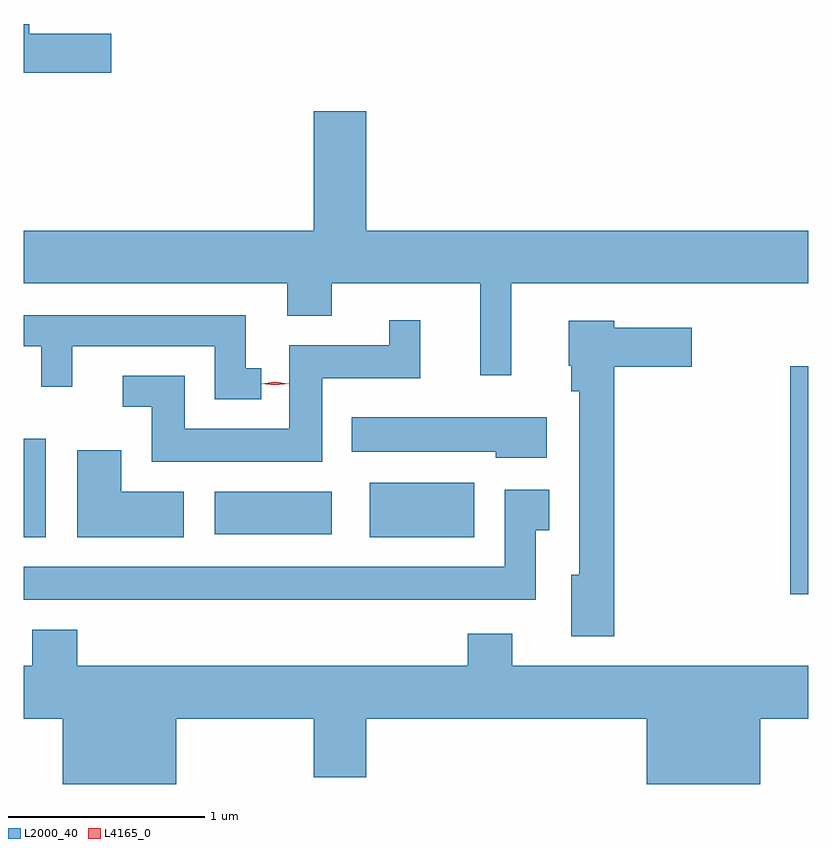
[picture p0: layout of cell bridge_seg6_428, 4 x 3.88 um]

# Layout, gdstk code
import gdstk
lib = gdstk.Library(unit=1e-6, precision=1e-09)
def R(c, l, rs):  # rectangles x0, y0, x1, y1
    for r in rs: c.add(gdstk.rectangle(r[:2], r[2:], *l))
def P(c, l, *ps):  # polygons
    for p in ps: c.add(gdstk.Polygon(p, *l))
L2000_40 = (2000, 40)
L4165_0 = (4165, 0)

bridge_seg6_428 = lib.new_cell('bridge_seg6_428')
R(bridge_seg6_428, L2000_40, [(836.886,1610.611,836.978,1611.774), (832.978,1610.901,833.089,1611.404), (834.741,1610.901,835.274,1611.179), (833.951,1610.916,834.549,1611.134)])
P(bridge_seg6_428, L2000_40, [(833.424,1613.469),(833.004,1613.469),(833.004,1613.519),(832.978,1613.519),(832.978,1613.271),(833.424,1613.271)],
  [(835.464,1612.196),(836.978,1612.196),(836.978,1612.464),(834.724,1612.464),(834.724,1613.074),(834.456,1613.074),(834.456,1612.464),(832.978,1612.464),(832.978,1612.196),(834.321,1612.196),(834.321,1612.031),(834.549,1612.031),(834.549,1612.196),(835.306,1612.196),(835.306,1611.728),(835.464,1611.728)],
  [(834.188,1611.764),(834.109,1611.764),(834.109,1612.034),(832.978,1612.034),(832.978,1611.876),(833.066,1611.876),(833.066,1611.668),(833.224,1611.668),(833.224,1611.876),(833.951,1611.876),(833.951,1611.606),(834.188,1611.606)],
  [(834.499,1611.711),(834.999,1611.711),(834.999,1612.008),(834.841,1612.008),(834.841,1611.879),(834.331,1611.879),(834.331,1611.454),(833.799,1611.454),(833.799,1611.724),(833.483,1611.724),(833.483,1611.566),(833.631,1611.566),(833.631,1611.286),(834.499,1611.286)],
  [(835.989,1611.771),(836.384,1611.771),(836.384,1611.969),(835.989,1611.969),(835.989,1612.004),(835.756,1612.004),(835.756,1611.775),(835.771,1611.775),(835.771,1611.646),(835.811,1611.646),(835.811,1610.709),(835.771,1610.709),(835.771,1610.396),(835.989,1610.396)],
  [(835.644,1611.514),(834.651,1611.514),(834.651,1611.336),(835.386,1611.336),(835.386,1611.306),(835.644,1611.306)],
  [(833.794,1611.134),(833.474,1611.134),(833.474,1611.344),(833.251,1611.344),(833.251,1610.901),(833.794,1610.901)],
  [(835.589,1610.936),(835.659,1610.936),(835.659,1611.144),(835.431,1611.144),(835.431,1610.749),(832.978,1610.749),(832.978,1610.581),(835.589,1610.581)],
  [(833.754,1609.976),(834.456,1609.976),(834.456,1609.676),(834.724,1609.676),(834.724,1609.976),(836.156,1609.976),(836.156,1609.642),(836.734,1609.642),(836.734,1609.976),(836.978,1609.976),(836.978,1610.244),(835.469,1610.244),(835.469,1610.409),(835.241,1610.409),(835.241,1610.244),(833.249,1610.244),(833.249,1610.429),(833.021,1610.429),(833.021,1610.244),(832.978,1610.244),(832.978,1609.976),(833.176,1609.976),(833.176,1609.642),(833.754,1609.642)])
P(bridge_seg6_428, L4165_0, [(834.258,1611.675),(834.189,1611.684),(834.189,1611.685),(834.189,1611.685),(834.258,1611.695),(834.328,1611.685),(834.328,1611.684),(834.328,1611.684)])

lib.write_gds('bridge_seg6_428.gds')
